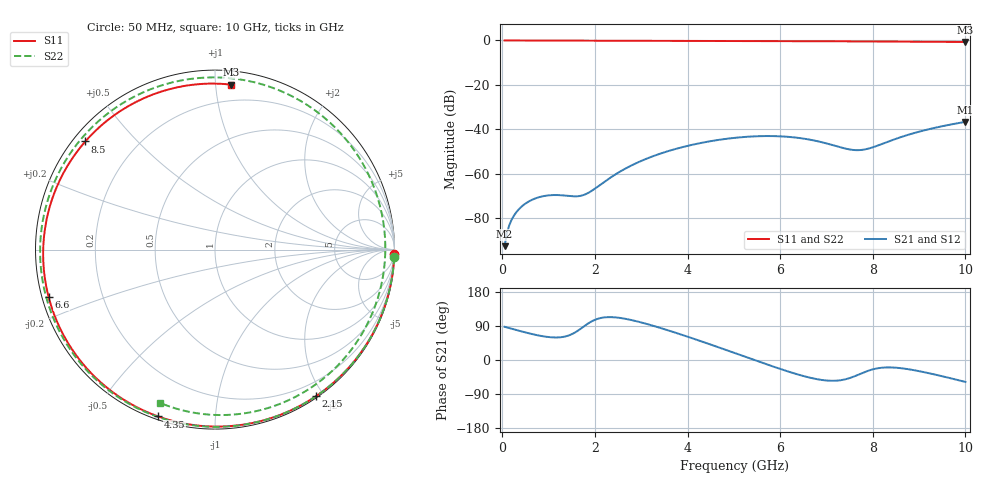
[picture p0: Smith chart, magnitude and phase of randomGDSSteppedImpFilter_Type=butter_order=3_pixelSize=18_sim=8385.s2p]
! freq	dB(S11)	phase(S11)	dB(S12)	phase(S12)
!  dB(S21)	phase(S21)	dB(S22)	phase(S22)
!S-par simulation data
#  GHz  S  DB  R 50
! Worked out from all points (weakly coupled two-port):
!   200 points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, 50 MHz to 10 GHz, reference 50 ohm
!   highest |S21| = -36.67 dB at 10 GHz (marker M1); lowest = -92.7 dB at 50 MHz (marker M2)
!   lowest |S11| = -0.7 dB at 10 GHz (marker M3), VSWR 25.13, Z = 4.4 + j54.9 ohm
!   |S11| at or under -10 dB: nowhere
!   |S22| runs from -0.8 to 0.0 dB; largest |S21 - S12| = 0
!   S11 on the Smith chart (normalised r, x): 50 MHz: 2, -85; 2.15 GHz: 0.02, -1.90; 4.35 GHz: 0.01, -0.71; 6.6 GHz: 0.02, -0.14; 8.5 GHz: 0.03, +0.36; 10 GHz: 0.09, +1.10
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0.05  -0.00 -1.3  -92.69 87.7  -92.69 87.7  -0.01 -2.4
0.2  -0.01 -5.3  -80.84 82.6  -80.84 82.6  -0.01 -9.5
0.45  -0.01 -11.8  -74.27 74.3  -74.27 74.3  -0.02 -21.2
0.8  -0.02 -21.0  -70.58 64.3  -70.58 64.3  -0.04 -37.4
1.3  -0.04 -33.9  -69.79 60.7  -69.79 60.7  -0.07 -60.2
1.75  -0.06 -45.4  -69.67 87.6  -69.67 87.6  -0.10 -80.1
2.15  -0.07 -55.5  -64.53 111.4  -64.53 111.4  -0.12 -97.4
2.75  -0.09 -70.3  -56.73 106.5  -56.73 106.5  -0.15 -122.8
3.4  -0.11 -86.1  -51.08 85.1  -51.08 85.1  -0.18 -150.3
3.9  -0.14 -98.1  -48.01 65.6  -48.01 65.6  -0.21 -171.8
4.35  -0.16 -108.9  -45.94 47.1  -45.94 47.1  -0.24 168.2
5.05  -0.20 -125.6  -43.81 17.1  -43.81 17.1  -0.30 135.0
5.85  -0.25 -145.0  -43.09 -17.3  -43.09 -17.3  -0.35 93.2
6.6  -0.32 -164.1  -44.54 -45.4  -44.54 -45.4  -0.40 51.3
6.7  -0.33 -166.7  -44.93 -48.2  -44.93 -48.2  -0.41 45.6
7.1  -0.37 -177.5  -46.96 -54.9  -46.96 -54.9  -0.43 23.2
7.5  -0.41 171.2  -49.12 -47.8  -49.12 -47.8  -0.45 1.4
7.85  -0.45 160.9  -49.01 -30.6  -49.01 -30.6  -0.48 -16.8
8.35  -0.51 145.1  -45.46 -19.5  -45.46 -19.5  -0.53 -41.1
8.5  -0.53 140.2  -44.32 -20.3  -44.32 -20.3  -0.54 -48.0
9.25  -0.62 113.7  -39.79 -35.8  -39.79 -35.8  -0.66 -80.2
10  -0.69 84.4  -36.67 -57.9  -36.67 -57.9  -0.85 -109.8
